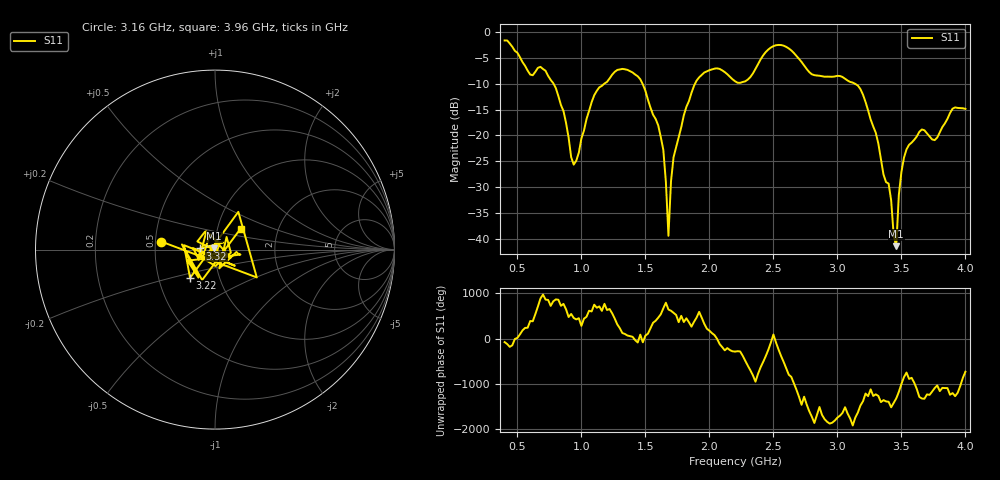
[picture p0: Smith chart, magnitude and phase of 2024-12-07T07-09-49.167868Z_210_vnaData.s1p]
!Created with skrf (http://scikit-rf.org).
# Hz S RI R 50.0
!freq ReS11 ImS11
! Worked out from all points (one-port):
!   181 points, 400 MHz to 4 GHz, reference 50 ohm
!   lowest |S11| = -41.4 dB at 3.46 GHz (marker M1), VSWR 1.02, Z = 49.5 + j0.714 ohm
!   |S11| at or under -10 dB: 782.1 MHz to 1.179 GHz (397.3 MHz wide, 40.5 % of centre); 1.477 GHz to 1.888 GHz (411.2 MHz wide, 24.4 % of centre); 3.136 GHz to end of sweep
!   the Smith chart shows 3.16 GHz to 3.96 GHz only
!   S11 on the Smith chart (normalised r, x): 3.16 GHz: 0.54, +0.05; 3.22 GHz: 0.72, -0.24; 3.32 GHz: 0.85, +0.01; 3.96 GHz: 1.29, +0.31
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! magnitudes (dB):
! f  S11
! 400 MHz  -1.7
! 600 MHz  -8.3
! 720 MHz  -7.5
! 860 MHz  -15.3
! 940 MHz  -25.6
! 1.1 GHz  -12.3
! 1.3 GHz  -7.3
! 1.46 GHz  -9.2
! 1.6 GHz  -18.1
! 1.64 GHz  -22.8
! 1.68 GHz  -39.4
! 1.7 GHz  -28.9
! 1.76 GHz  -20.3
! 1.92 GHz  -8.8
! 2.2 GHz  -9.5
! 2.5 GHz  -2.8
! 2.66 GHz  -4.1
! 3.1 GHz  -9.7
! 3.16 GHz  -10.4
! 3.22 GHz  -13.5
! 3.32 GHz  -21.6
! 3.4 GHz  -29.3
! 3.46 GHz  -41.4
! 3.48 GHz  -31.5
! 3.5 GHz  -27.1
! 3.56 GHz  -21.8
! 3.96 GHz  -14.7
! 4 GHz  -14.9
